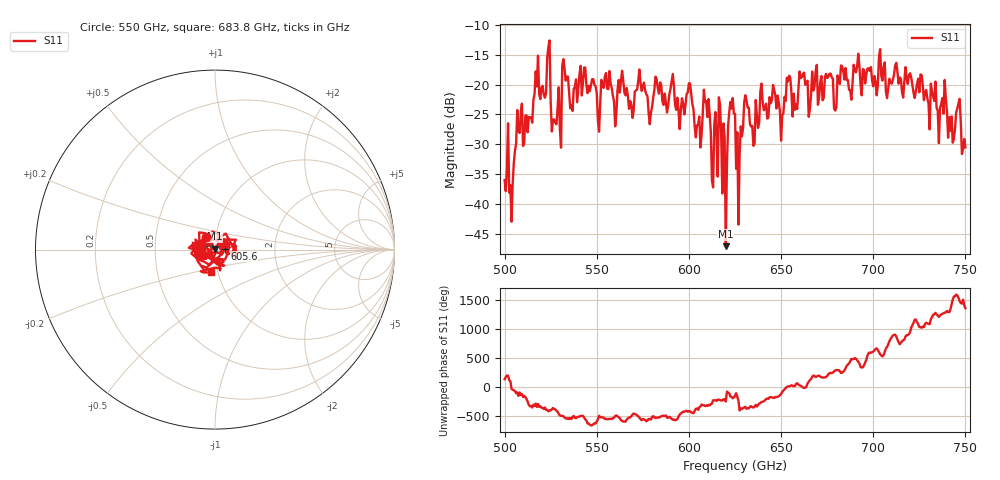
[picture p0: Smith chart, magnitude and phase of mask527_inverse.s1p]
!Created with skrf (http://scikit-rf.org).
# GHz S MA R 50.0
!freq magS11 angS11
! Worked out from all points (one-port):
!   401 points, 500 GHz to 750 GHz, reference 50 ohm
!   lowest |S11| = -47.0 dB at 620 GHz (marker M1), VSWR 1.01, Z = 49.9 + j0.432 ohm
!   |S11| at or under -10 dB: start of sweep to end of sweep
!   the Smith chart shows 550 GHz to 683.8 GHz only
!   S11 on the Smith chart (normalised r, x): 550 GHz: 0.90, +0.13; 605.6 GHz: 1.11, +0.01; 683.8 GHz: 0.92, -0.24
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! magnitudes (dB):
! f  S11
! 500 GHz  -36.0
! 503.8 GHz  -42.9
! 508.1 GHz  -28.1
! 513.8 GHz  -25.5
! 516.9 GHz  -17.8
! 523.8 GHz  -13.7
! 526.9 GHz  -25.8
! 531.2 GHz  -16.9
! 550 GHz  -21.4
! 562.5 GHz  -21.3
! 593.8 GHz  -22.2
! 600 GHz  -19.8
! 605.6 GHz  -25.4
! 609.4 GHz  -22.8
! 612.5 GHz  -36.0
! 615.6 GHz  -35.4
! 620 GHz  -47.0
! 622.5 GHz  -22.9
! 625 GHz  -24.9
! 626.9 GHz  -43.4
! 631.2 GHz  -22.7
! 634.4 GHz  -26.9
! 656.2 GHz  -25.3
! 683.8 GHz  -17.8
! 687.5 GHz  -20.9
! 718.8 GHz  -19.9
! 746.2 GHz  -23.1
! 750 GHz  -30.5
